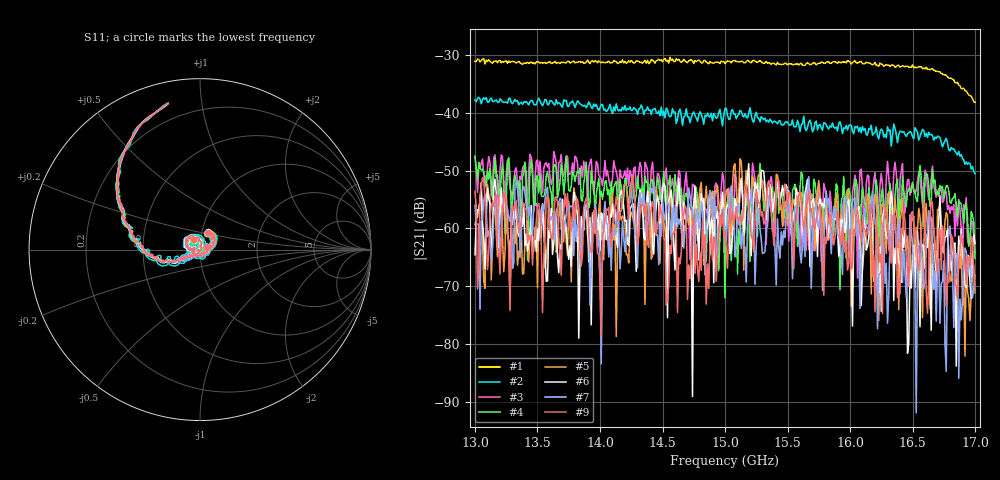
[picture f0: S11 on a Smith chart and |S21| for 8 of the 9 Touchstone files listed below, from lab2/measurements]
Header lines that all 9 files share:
!Keysight Technologies,P9374A,MY57211807,A.19.30.04
!Correction: S11(C  2-Port  )
!S21(C  2-Port  )
!S12(C  2-Port  )
!S22(C  2-Port  )
!S2P File: Measurements: S11, S21, S12, S22:
# Hz S  RI  R 50
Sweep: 13 GHz to 17 GHz
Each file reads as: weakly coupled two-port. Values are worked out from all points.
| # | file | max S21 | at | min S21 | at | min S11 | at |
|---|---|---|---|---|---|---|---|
| 1 | 20.s2p | -30.35 dB | 14.56 GHz | -38.1 dB | 17 GHz | -50.0 dB | 15.6 GHz |
| 2 | 30.s2p | -37.30 dB | 13.03 GHz | -50.5 dB | 17 GHz | -50.0 dB | 15.67 GHz |
| 3 | 48.s2p | -46.71 dB | 13.63 GHz | -68.6 dB | 16.06 GHz | -45.7 dB | 15.57 GHz |
| 4 | 50.s2p | -47.43 dB | 13.73 GHz | -72.1 dB | 15 GHz | -40.6 dB | 15.68 GHz |
| 5 | 60.s2p | -47.92 dB | 15.12 GHz | -82.1 dB | 16.92 GHz | -46.1 dB | 15.62 GHz |
| 6 | 62.s2p | -48.79 dB | 15.19 GHz | -89.1 dB | 14.74 GHz | -55.1 dB | 15.59 GHz |
| 7 | 66.s2p | -51.05 dB | 15.67 GHz | -92.0 dB | 16.53 GHz | -57.0 dB | 15.63 GHz |
| 8 | 76.s2p | -52.89 dB | 15.53 GHz | -80.1 dB | 13.5 GHz | -44.6 dB | 15.62 GHz |
| 9 | 82.s2p | -50.67 dB | 14.26 GHz | -78.8 dB | 14.01 GHz | -43.9 dB | 15.66 GHz |
